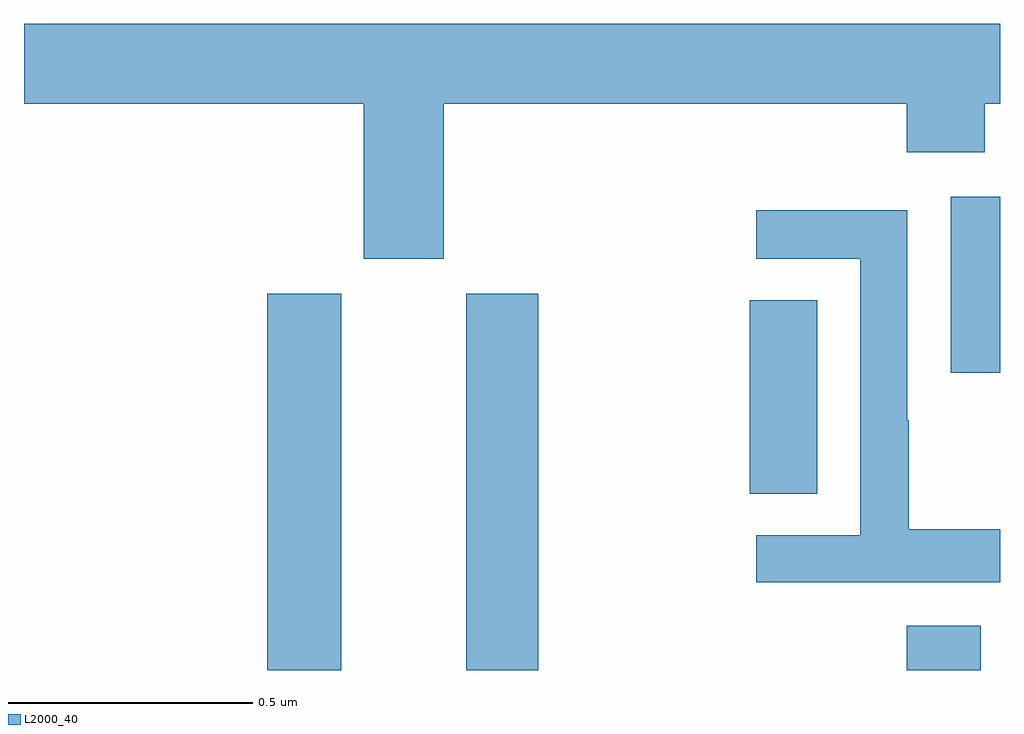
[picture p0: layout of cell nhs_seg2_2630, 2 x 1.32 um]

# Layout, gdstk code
import gdstk
lib = gdstk.Library(unit=1e-6, precision=1e-09)
def R(c, l, rs):  # rectangles x0, y0, x1, y1
    for r in rs: c.add(gdstk.rectangle(r[:2], r[2:], *l))
def P(c, l, *ps):  # polygons
    for p in ps: c.add(gdstk.Polygon(p, *l))
L2000_40 = (2000, 40)

nhs_seg2_2630 = lib.new_cell('nhs_seg2_2630')
R(nhs_seg2_2630, L2000_40, [(143.498,655.8,143.65,656.571), (143.906,655.8,144.054,656.571), (144.809,655.8,144.961,655.891), (144.487,656.161,144.625,656.558), (144.899,656.409,145,656.77)])
P(nhs_seg2_2630, L2000_40, [(143.86,656.96),(144.809,656.96),(144.809,656.861),(144.969,656.861),(144.969,656.96),(145,656.96),(145,657.124),(143,657.124),(143,656.96),(143.696,656.96),(143.696,656.643),(143.86,656.643)],
  [(145,656.089),(144.813,656.089),(144.813,656.312),(144.81,656.312),(144.81,656.742),(144.501,656.742),(144.501,656.643),(144.714,656.643),(144.714,656.076),(144.501,656.076),(144.501,655.98),(145,655.98)])

lib.write_gds('nhs_seg2_2630.gds')
